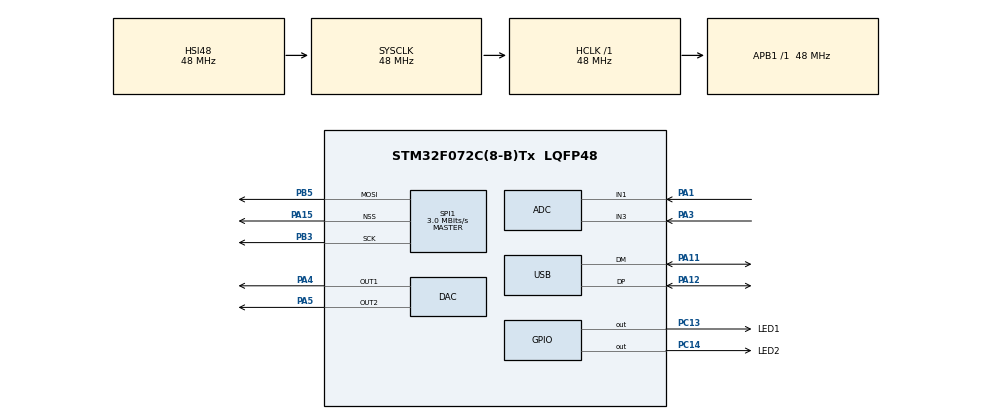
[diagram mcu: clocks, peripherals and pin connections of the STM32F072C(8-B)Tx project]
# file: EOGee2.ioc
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ADC.ClockPrescaler=ADC_CLOCK_SYNC_PCLK_DIV4
ADC.ContinuousConvMode=DISABLE
ADC.DMAContinuousRequests=ENABLE
ADC.DiscontinuousConvMode=DISABLE
ADC.EOCSelection=ADC_EOC_SEQ_CONV
ADC.ExternalTrigConv=ADC_EXTERNALTRIGCONV_T1_TRGO
ADC.SamplingTime=ADC_SAMPLETIME_71CYCLES_5
DAC.DAC_Trigger=DAC_TRIGGER_T2_TRGO
DAC.DAC_Trigger2=DAC_TRIGGER_T2_TRGO
Dma.ADC.2.Direction=DMA_PERIPH_TO_MEMORY
Dma.ADC.2.Instance=DMA1_Channel1
Dma.ADC.2.MemDataAlignment=DMA_MDATAALIGN_HALFWORD
Dma.ADC.2.MemInc=DMA_MINC_ENABLE
Dma.ADC.2.Mode=DMA_CIRCULAR
Dma.ADC.2.PeriphDataAlignment=DMA_PDATAALIGN_HALFWORD
Dma.ADC.2.PeriphInc=DMA_PINC_DISABLE
Dma.ADC.2.Priority=DMA_PRIORITY_LOW
Dma.DAC_CH1.0.Direction=DMA_MEMORY_TO_PERIPH
Dma.DAC_CH1.0.Instance=DMA1_Channel3
Dma.DAC_CH1.0.MemDataAlignment=DMA_MDATAALIGN_HALFWORD
Dma.DAC_CH1.0.MemInc=DMA_MINC_ENABLE
Dma.DAC_CH1.0.Mode=DMA_CIRCULAR
Dma.DAC_CH1.0.PeriphDataAlignment=DMA_PDATAALIGN_HALFWORD
Dma.DAC_CH1.0.PeriphInc=DMA_PINC_DISABLE
Dma.DAC_CH1.0.Priority=DMA_PRIORITY_LOW
Dma.DAC_CH2.1.Direction=DMA_MEMORY_TO_PERIPH
Dma.DAC_CH2.1.Instance=DMA1_Channel4
Dma.DAC_CH2.1.MemDataAlignment=DMA_MDATAALIGN_HALFWORD
Dma.DAC_CH2.1.MemInc=DMA_MINC_DISABLE
Dma.DAC_CH2.1.Mode=DMA_CIRCULAR
Dma.DAC_CH2.1.PeriphDataAlignment=DMA_PDATAALIGN_HALFWORD
Dma.DAC_CH2.1.PeriphInc=DMA_PINC_DISABLE
Dma.DAC_CH2.1.Priority=DMA_PRIORITY_LOW
Dma.Request0=DAC_CH1
Dma.Request1=DAC_CH2
Dma.Request2=ADC
Mcu.Family=STM32F0
Mcu.Name=STM32F072C(8-B)Tx
Mcu.Package=LQFP48
NVIC.DMA1_Channel1_IRQn=true\:0\:0\:false\:false\:true\:false\:true
NVIC.USB_IRQn=true\:0\:0\:false\:false\:true\:false\:true
PA1.Mode=IN1
PA1.Signal=ADC_IN1
PA11.Mode=Device
PA11.Signal=USB_DM
PA12.Mode=Device
PA12.Signal=USB_DP
PA15.Mode=NSS_Signal_Hard_Output
PA15.Signal=SPI1_NSS
PA3.Mode=IN3
PA3.Signal=ADC_IN3
PA4.Signal=COMP_DAC1_group
PA5.Signal=COMP_DAC2_group
PB3.Mode=TX_Only_Simplex_Unidirect_Master
PB3.Signal=SPI1_SCK
PB5.Mode=TX_Only_Simplex_Unidirect_Master
PB5.Signal=SPI1_MOSI
PC13.GPIO_Label=LED1
PC13.Signal=GPIO_Output
PC14-OSC32_IN.GPIO_Label=LED2
PC14-OSC32_IN.Signal=GPIO_Output
ProjectManager.HeapSize=0x200
ProjectManager.StackSize=0x400
ProjectManager.TargetToolchain=STM32CubeIDE
RCC.AHBFreq_Value=48000000
RCC.APB1Freq_Value=48000000
RCC.APB1TimFreq_Value=48000000
RCC.HCLKFreq_Value=48000000
RCC.SYSCLKFreq_VALUE=48000000
RCC.SYSCLKSource=RCC_SYSCLKSOURCE_HSI48
SH.COMP_DAC1_group.0=DAC_OUT1,DAC_OUT1
SH.COMP_DAC2_group.0=DAC_OUT2,DAC_OUT2
SPI1.BaudRatePrescaler=SPI_BAUDRATEPRESCALER_16
SPI1.CalculateBaudRate=3.0 MBits/s
SPI1.DataSize=SPI_DATASIZE_16BIT
SPI1.Direction=SPI_DIRECTION_2LINES
SPI1.FirstBit=SPI_FIRSTBIT_MSB
SPI1.Mode=SPI_MODE_MASTER
SPI1.VirtualNSS=VM_NSSHARD
SPI1.VirtualType=VM_MASTER
TIM1.Channel-Output\ Compare1\ No\ Output=TIM_CHANNEL_1
TIM1.Period=1600
TIM1.Prescaler=0
TIM1.TIM_MasterOutputTrigger=TIM_TRGO_OC1
TIM2.Channel-Output\ Compare1\ No\ Output=TIM_CHANNEL_1
TIM2.Period=1600
TIM2.TIM_MasterOutputTrigger=TIM_TRGO_OC1
USB_DEVICE.APP_TX_DATA_SIZE=1000
USB_DEVICE.CLASS_NAME_FS=CDC
USB_DEVICE.VirtualMode=Cdc
USB_DEVICE.VirtualModeFS=Cdc_FS
VP_RCC_USB.Mode=CRS SYNC Source USB
VP_TIM1_VS_ClockSourceINT.Mode=Internal
VP_TIM1_VS_no_output1.Mode=Output Compare1 No Output
VP_TIM2_VS_ClockSourceINT.Mode=Internal
VP_TIM2_VS_no_output1.Mode=Output Compare1 No Output
VP_USB_DEVICE_VS_USB_DEVICE_CDC_FS.Mode=CDC_FS
board=custom

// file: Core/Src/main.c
/* USER CODE BEGIN Header */
/**
  ******************************************************************************
  * @file           : main.c
  * @brief          : Main program body
  ******************************************************************************
  * @attention
  *
  * <h2><center>&copy; Copyright (c) 2020 STMicroelectronics.
  * All rights reserved.</center></h2>
  *
  * This software component is licensed by ST under BSD 3-Clause license,
  * the "License"; You may not use this file except in compliance with the
  * License. You may obtain a copy of the License at:
  *                        opensource.org/licenses/BSD-3-Clause
  *
  ******************************************************************************
  */
/* USER CODE END Header */

#include "main.h"
#include "usb_device.h"

/* USER CODE BEGIN Includes */
#include "usbd_cdc_if.h"
/* USER CODE END Includes */

/* USER CODE BEGIN PD */
#define ADC_TARGET 2048
#define ADC_TARGET_RANGE 10
#define ADC_CORRECTION_RANGE 1500
/* USER CODE END PD */

ADC_HandleTypeDef hadc;
DMA_HandleTypeDef hdma_adc;

DAC_HandleTypeDef hdac;
DMA_HandleTypeDef hdma_dac_ch1;
DMA_HandleTypeDef hdma_dac_ch2;

SPI_HandleTypeDef hspi1;

TIM_HandleTypeDef htim1;
TIM_HandleTypeDef htim2;

/* USER CODE BEGIN PV */
#define OUTPUT_BUFFER_LEN 100
uint16_t output_buffer[OUTPUT_BUFFER_LEN*2+1]; // Buffer is long enough for ADC data, DAC data and demod
volatile uint8_t output_buffer_pointer;
#define ADC_DMA_BUFFER_LEN 1000
uint16_t adc_dma_buffer[ADC_DMA_BUFFER_LEN];
volatile uint16_t adc_dma_buffer_pointer;
volatile int correcting = 0;
volatile uint16_t dac_code = 0;
uint16_t electrode_sense_waveform_i[100] = {2048, 2176, 2304, 2431, 2557, 2680, 2801, 2919, 3034, 3145, 3251, 3353, 3449, 3540, 3625, 3704, 3776, 3842, 3900, 3951, 3995, 4031, 4059, 4079, 4091, 4095, 4091, 4079, 4059, 4031, 3995, 3951, 3900, 3842, 3776, 3704, 3625, 3540, 3449, 3353, 3251, 3145, 3034, 2919, 2801, 2680, 2557, 2431, 2304, 2176, 2048, 1920, 1792, 1665, 1539, 1416, 1295, 1177, 1062, 951, 845, 743, 647, 556, 471, 392, 320, 254, 196, 145, 101, 65, 37, 17, 5, 1, 5, 17, 37, 65, 101, 145, 196, 254, 320, 392, 471, 556, 647, 743, 845, 951, 1062, 1177, 1295, 1416, 1539, 1665, 1792, 1920};
uint16_t electrode_sense_waveform_q[100] = {4095,4090,4078,4058,4030,3994,3951,3900,3841,3776,3704,3625,3540,3449, 3352,3251,3144,3034,2919,2801,2680,2557,2431,2304,2176,2048,1920,1792, 1665,1539,1416,1295,1177,1062, 952, 845, 744, 647, 556, 471, 392, 320,  255, 196, 145, 102,  66,  38,  18,   6,   1,   6,  18,  38,  66, 102,  145, 196, 255, 320, 392, 471, 556, 647, 744, 845, 952,1062,1177,1295, 1416,1539,1665,1792,1920,2048,2176,2304,2431,2557,2680,2801,2919,3034, 3144,3251,3352,3449,3540,3625,3704,3776,3841,3900,3951,3994,4030,4058, 4078,4090};
/* USER CODE END PV */

void SystemClock_Config(void);
static void MX_GPIO_Init(void);
static void MX_DMA_Init(void);
static void MX_DAC_Init(void);
static void MX_SPI1_Init(void);
static void MX_ADC_Init(void);
static void MX_TIM1_Init(void);
static void MX_TIM2_Init(void);
/* USER CODE BEGIN PFP */
HAL_StatusTypeDef Set_MCP41010_Resistance(uint8_t resistance);
void ADD_POINT_TO_OUTPUT_BUFFER(uint16_t, uint16_t);
/* USER CODE END PFP */

int main(void)
{

  /* MCU Configuration--------------------------------------------------------*/

  /* Reset of all peripherals, Initializes the Flash interface and the Systick. */
  HAL_Init();

  /* Configure the system clock */
  SystemClock_Config();

  /* Initialize all configured peripherals */
  MX_GPIO_Init();
  MX_DMA_Init();
  MX_DAC_Init();
  MX_USB_DEVICE_Init();
  MX_SPI1_Init();
  MX_ADC_Init();
  MX_TIM1_Init();
  MX_TIM2_Init();
  /* USER CODE BEGIN 2 */
  HAL_Delay(3000);
  //CDC_Transmit_FS((uint8_t*)"Hello\n\r", 7);
  /* USER CODE END 2 */

  /* Infinite loop */
  /* USER CODE BEGIN WHILE */
  HAL_Delay(1000);
  Set_MCP41010_Resistance(255);

  // Start feedback DAC
  dac_code = ADC_TARGET;
  HAL_DAC_Start_DMA(&hdac, DAC_CHANNEL_2, (uint32_t *) &dac_code, 1, DAC_ALIGN_12B_R);
  correcting = 1;

  // Start electrode sense dac
  HAL_DAC_Start_DMA(&hdac, DAC_CHANNEL_1, (uint32_t *) electrode_sense_waveform_i, 100, DAC_ALIGN_12B_R);

  // Start EOG ADC conversions
  output_buffer_pointer = 0;
  HAL_ADC_Start_DMA(&hadc, (uint32_t *) adc_dma_buffer, ADC_DMA_BUFFER_LEN);

  // Start timer 2 which triggers electrode sense DAC  and feedback DAC
  HAL_TIM_OC_Start_IT(&htim2,TIM_CHANNEL_1);

  // Start timer 1 which triggers EOG ADC
  HAL_TIM_OC_Start_IT(&htim1,TIM_CHANNEL_1);

  while (1)
  {
    /* USER CODE END WHILE */

    /* USER CODE BEGIN 3 */
	  if(output_buffer_pointer == OUTPUT_BUFFER_LEN)
	  {
		  // Toggle LED
		  HAL_GPIO_TogglePin(LED1_GPIO_Port, LED1_Pin);
		  // Send data buffer over usb
		  CDC_Transmit_FS((void*)output_buffer, 2*2*OUTPUT_BUFFER_LEN+2);
		  // Reset data buffer
		  output_buffer_pointer = 0;
	  }
  }
  /* USER CODE END 3 */
}

void SystemClock_Config(void)
{
  RCC_OscInitTypeDef RCC_OscInitStruct = {0};
  RCC_ClkInitTypeDef RCC_ClkInitStruct = {0};
  RCC_PeriphCLKInitTypeDef PeriphClkInit = {0};
  RCC_CRSInitTypeDef RCC_CRSInitStruct = {0};

  /** Initializes the CPU, AHB and APB busses clocks
  */
  RCC_OscInitStruct.OscillatorType = RCC_OSCILLATORTYPE_HSI48;
  RCC_OscInitStruct.HSI48State = RCC_HSI48_ON;
  RCC_OscInitStruct.PLL.PLLState = RCC_PLL_NONE;
  if (HAL_RCC_OscConfig(&RCC_OscInitStruct) != HAL_OK)
  {
    Error_Handler();
  }
  /** Initializes the CPU, AHB and APB busses clocks
  */
  RCC_ClkInitStruct.ClockType = RCC_CLOCKTYPE_HCLK|RCC_CLOCKTYPE_SYSCLK
                              |RCC_CLOCKTYPE_PCLK1;
  RCC_ClkInitStruct.SYSCLKSource = RCC_SYSCLKSOURCE_HSI48;
  RCC_ClkInitStruct.AHBCLKDivider = RCC_SYSCLK_DIV1;
  RCC_ClkInitStruct.APB1CLKDivider = RCC_HCLK_DIV1;

  if (HAL_RCC_ClockConfig(&RCC_ClkInitStruct, FLASH_LATENCY_1) != HAL_OK)
  {
    Error_Handler();
  }
  PeriphClkInit.PeriphClockSelection = RCC_PERIPHCLK_USB;
  PeriphClkInit.UsbClockSelection = RCC_USBCLKSOURCE_HSI48;

  if (HAL_RCCEx_PeriphCLKConfig(&PeriphClkInit) != HAL_OK)
  {
    Error_Handler();
  }
  /** Enable the SYSCFG APB clock
  */
  __HAL_RCC_CRS_CLK_ENABLE();
  /** Configures CRS
  */
  RCC_CRSInitStruct.Prescaler = RCC_CRS_SYNC_DIV1;
  RCC_CRSInitStruct.Source = RCC_CRS_SYNC_SOURCE_USB;
  RCC_CRSInitStruct.Polarity = RCC_CRS_SYNC_POLARITY_RISING;
  RCC_CRSInitStruct.ReloadValue = __HAL_RCC_CRS_RELOADVALUE_CALCULATE(48000000,1000);
  RCC_CRSInitStruct.ErrorLimitValue = 34;
  RCC_CRSInitStruct.HSI48CalibrationValue = 32;

  HAL_RCCEx_CRSConfig(&RCC_CRSInitStruct);
}

static void MX_ADC_Init(void)
{

  ADC_ChannelConfTypeDef sConfig = {0};

  /** Configure the global features of the ADC (Clock, Resolution, Data Alignment and number of conversion)
  */
  hadc.Instance = ADC1;
  hadc.Init.ClockPrescaler = ADC_CLOCK_SYNC_PCLK_DIV4;
  hadc.Init.Resolution = ADC_RESOLUTION_12B;
  hadc.Init.DataAlign = ADC_DATAALIGN_RIGHT;
  hadc.Init.ScanConvMode = ADC_SCAN_DIRECTION_FORWARD;
  hadc.Init.EOCSelection = ADC_EOC_SEQ_CONV;
  hadc.Init.LowPowerAutoWait = DISABLE;
  hadc.Init.LowPowerAutoPowerOff = DISABLE;
  hadc.Init.ContinuousConvMode = DISABLE;
  hadc.Init.DiscontinuousConvMode = DISABLE;
  hadc.Init.ExternalTrigConv = ADC_EXTERNALTRIGCONV_T1_TRGO;
  hadc.Init.ExternalTrigConvEdge = ADC_EXTERNALTRIGCONVEDGE_RISING;
  hadc.Init.DMAContinuousRequests = ENABLE;
  hadc.Init.Overrun = ADC_OVR_DATA_PRESERVED;
  if (HAL_ADC_Init(&hadc) != HAL_OK)
  {
    Error_Handler();
  }
  /** Configure for the selected ADC regular channel to be converted.
  */
  sConfig.Channel = ADC_CHANNEL_1;
  sConfig.Rank = ADC_RANK_CHANNEL_NUMBER;
  sConfig.SamplingTime = ADC_SAMPLETIME_71CYCLES_5;
  if (HAL_ADC_ConfigChannel(&hadc, &sConfig) != HAL_OK)
  {
    Error_Handler();
  }
  /** Configure for the selected ADC regular channel to be converted.
  */
  sConfig.Channel = ADC_CHANNEL_3;
  if (HAL_ADC_ConfigChannel(&hadc, &sConfig) != HAL_OK)
  {
    Error_Handler();
  }

}

static void MX_DAC_Init(void)
{

  DAC_ChannelConfTypeDef sConfig = {0};

  /** DAC Initialization
  */
  hdac.Instance = DAC;
  if (HAL_DAC_Init(&hdac) != HAL_OK)
  {
    Error_Handler();
  }
  /** DAC channel OUT1 config
  */
  sConfig.DAC_Trigger = DAC_TRIGGER_T2_TRGO;
  sConfig.DAC_OutputBuffer = DAC_OUTPUTBUFFER_ENABLE;
  if (HAL_DAC_ConfigChannel(&hdac, &sConfig, DAC_CHANNEL_1) != HAL_OK)
  {
    Error_Handler();
  }
  /** DAC channel OUT2 config
  */
  if (HAL_DAC_ConfigChannel(&hdac, &sConfig, DAC_CHANNEL_2) != HAL_OK)
  {
    Error_Handler();
  }

}

static void MX_SPI1_Init(void)
{

  /* SPI1 parameter configuration*/
  hspi1.Instance = SPI1;
  hspi1.Init.Mode = SPI_MODE_MASTER;
  hspi1.Init.Direction = SPI_DIRECTION_2LINES;
  hspi1.Init.DataSize = SPI_DATASIZE_16BIT;
  hspi1.Init.CLKPolarity = SPI_POLARITY_LOW;
  hspi1.Init.CLKPhase = SPI_PHASE_1EDGE;
  hspi1.Init.NSS = SPI_NSS_HARD_OUTPUT;
  hspi1.Init.BaudRatePrescaler = SPI_BAUDRATEPRESCALER_16;
  hspi1.Init.FirstBit = SPI_FIRSTBIT_MSB;
  hspi1.Init.TIMode = SPI_TIMODE_DISABLE;
  hspi1.Init.CRCCalculation = SPI_CRCCALCULATION_DISABLE;
  hspi1.Init.CRCPolynomial = 7;
  hspi1.Init.CRCLength = SPI_CRC_LENGTH_DATASIZE;
  hspi1.Init.NSSPMode = SPI_NSS_PULSE_ENABLE;
  if (HAL_SPI_Init(&hspi1) != HAL_OK)
  {
    Error_Handler();
  }

}

static void MX_TIM1_Init(void)
{

  TIM_ClockConfigTypeDef sClockSourceConfig = {0};
  TIM_MasterConfigTypeDef sMasterConfig = {0};
  TIM_OC_InitTypeDef sConfigOC = {0};
  TIM_BreakDeadTimeConfigTypeDef sBreakDeadTimeConfig = {0};

  htim1.Instance = TIM1;
  htim1.Init.Prescaler = 0;
  htim1.Init.CounterMode = TIM_COUNTERMODE_UP;
  htim1.Init.Period = 1600;
  htim1.Init.ClockDivision = TIM_CLOCKDIVISION_DIV1;
  htim1.Init.RepetitionCounter = 0;
  htim1.Init.AutoReloadPreload = TIM_AUTORELOAD_PRELOAD_DISABLE;
  if (HAL_TIM_Base_Init(&htim1) != HAL_OK)
  {
    Error_Handler();
  }
  sClockSourceConfig.ClockSource = TIM_CLOCKSOURCE_INTERNAL;
  if (HAL_TIM_ConfigClockSource(&htim1, &sClockSourceConfig) != HAL_OK)
  {
    Error_Handler();
  }
  if (HAL_TIM_OC_Init(&htim1) != HAL_OK)
  {
    Error_Handler();
  }
  sMasterConfig.MasterOutputTrigger = TIM_TRGO_OC1;
  sMasterConfig.MasterSlaveMode = TIM_MASTERSLAVEMODE_DISABLE;
  if (HAL_TIMEx_MasterConfigSynchronization(&htim1, &sMasterConfig) != HAL_OK)
  {
    Error_Handler();
  }
  sConfigOC.OCMode = TIM_OCMODE_TIMING;
  sConfigOC.Pulse = 0;
  sConfigOC.OCPolarity = TIM_OCPOLARITY_HIGH;
  sConfigOC.OCNPolarity = TIM_OCNPOLARITY_HIGH;
  sConfigOC.OCFastMode = TIM_OCFAST_DISABLE;
  sConfigOC.OCIdleState = TIM_OCIDLESTATE_RESET;
  sConfigOC.OCNIdleState = TIM_OCNIDLESTATE_RESET;
  if (HAL_TIM_OC_ConfigChannel(&htim1, &sConfigOC, TIM_CHANNEL_1) != HAL_OK)
  {
    Error_Handler();
  }
  sBreakDeadTimeConfig.OffStateRunMode = TIM_OSSR_DISABLE;
  sBreakDeadTimeConfig.OffStateIDLEMode = TIM_OSSI_DISABLE;
  sBreakDeadTimeConfig.LockLevel = TIM_LOCKLEVEL_OFF;
  sBreakDeadTimeConfig.DeadTime = 0;
  sBreakDeadTimeConfig.BreakState = TIM_BREAK_DISABLE;
  sBreakDeadTimeConfig.BreakPolarity = TIM_BREAKPOLARITY_HIGH;
  sBreakDeadTimeConfig.AutomaticOutput = TIM_AUTOMATICOUTPUT_DISABLE;
  if (HAL_TIMEx_ConfigBreakDeadTime(&htim1, &sBreakDeadTimeConfig) != HAL_OK)
  {
    Error_Handler();
  }

}

static void MX_TIM2_Init(void)
{

  TIM_ClockConfigTypeDef sClockSourceConfig = {0};
  TIM_MasterConfigTypeDef sMasterConfig = {0};
  TIM_OC_InitTypeDef sConfigOC = {0};

  htim2.Instance = TIM2;
  htim2.Init.Prescaler = 0;
  htim2.Init.CounterMode = TIM_COUNTERMODE_UP;
  htim2.Init.Period = 1600;
  htim2.Init.ClockDivision = TIM_CLOCKDIVISION_DIV1;
  htim2.Init.AutoReloadPreload = TIM_AUTORELOAD_PRELOAD_DISABLE;
  if (HAL_TIM_Base_Init(&htim2) != HAL_OK)
  {
    Error_Handler();
  }
  sClockSourceConfig.ClockSource = TIM_CLOCKSOURCE_INTERNAL;
  if (HAL_TIM_ConfigClockSource(&htim2, &sClockSourceConfig) != HAL_OK)
  {
    Error_Handler();
  }
  if (HAL_TIM_OC_Init(&htim2) != HAL_OK)
  {
    Error_Handler();
  }
  sMasterConfig.MasterOutputTrigger = TIM_TRGO_OC1;
  sMasterConfig.MasterSlaveMode = TIM_MASTERSLAVEMODE_DISABLE;
  if (HAL_TIMEx_MasterConfigSynchronization(&htim2, &sMasterConfig) != HAL_OK)
  {
    Error_Handler();
  }
  sConfigOC.OCMode = TIM_OCMODE_TIMING;
  sConfigOC.Pulse = 0;
  sConfigOC.OCPolarity = TIM_OCPOLARITY_HIGH;
  sConfigOC.OCFastMode = TIM_OCFAST_DISABLE;
  if (HAL_TIM_OC_ConfigChannel(&htim2, &sConfigOC, TIM_CHANNEL_1) != HAL_OK)
  {
    Error_Handler();
  }

}

static void MX_DMA_Init(void)
{

  /* DMA controller clock enable */
  __HAL_RCC_DMA1_CLK_ENABLE();

  /* DMA interrupt init */
  /* DMA1_Channel1_IRQn interrupt configuration */
  HAL_NVIC_SetPriority(DMA1_Channel1_IRQn, 0, 0);
  HAL_NVIC_EnableIRQ(DMA1_Channel1_IRQn);

}

static void MX_GPIO_Init(void)
{
  GPIO_InitTypeDef GPIO_InitStruct = {0};

  /* GPIO Ports Clock Enable */
  __HAL_RCC_GPIOC_CLK_ENABLE();
  __HAL_RCC_GPIOA_CLK_ENABLE();
  __HAL_RCC_GPIOB_CLK_ENABLE();

  /*Configure GPIO pin Output Level */
  HAL_GPIO_WritePin(GPIOC, LED1_Pin|LED2_Pin, GPIO_PIN_RESET);

  /*Configure GPIO pins : LED1_Pin LED2_Pin */
  GPIO_InitStruct.Pin = LED1_Pin|LED2_Pin;
  GPIO_InitStruct.Mode = GPIO_MODE_OUTPUT_PP;
  GPIO_InitStruct.Pull = GPIO_NOPULL;
  GPIO_InitStruct.Speed = GPIO_SPEED_FREQ_LOW;
  HAL_GPIO_Init(GPIOC, &GPIO_InitStruct);

}

/* USER CODE BEGIN 4 */

HAL_StatusTypeDef Set_MCP41010_Resistance(uint8_t resistance)
{
	uint8_t data[2];
	data[1] = 0x11;
	data[0] = resistance;
	return HAL_SPI_Transmit(&hspi1, (void *) &data, 1, HAL_MAX_DELAY);
}

/* USER CODE BEGIN 4 */
void ADD_POINT_TO_OUTPUT_BUFFER(uint16_t output_val, uint16_t dac_val)
{
	// Put data in buffer
	if(output_buffer_pointer < OUTPUT_BUFFER_LEN)
	{
		output_buffer[output_buffer_pointer] = (0x8000 | (uint16_t) output_val);
		output_buffer[output_buffer_pointer+OUTPUT_BUFFER_LEN] = (0x4000 | dac_val);
		output_buffer_pointer++;
	}
	else
	{
		// If no space in buffer, turn on LED as warning
		HAL_GPIO_WritePin(LED2_GPIO_Port, LED2_Pin, GPIO_PIN_SET);
	}
}

/**
  * @brief  Conversion complete callback in non blocking mode
  * @param  hadc ADC handle
  * @retval None
  */
void HAL_ADC_ConvCpltCallback(ADC_HandleTypeDef* hadc)
{
	uint32_t sample;
	uint16_t sample_step = 40;
	uint16_t nchannels = 2;
	while(adc_dma_buffer_pointer < ADC_DMA_BUFFER_LEN)
	{
		sample = adc_dma_buffer[adc_dma_buffer_pointer];
		ADD_POINT_TO_OUTPUT_BUFFER(sample, dac_code);
		adc_dma_buffer_pointer += sample_step * nchannels;
	}
	adc_dma_buffer_pointer -= ADC_DMA_BUFFER_LEN;

	uint64_t i_acculumator = 0;
	uint64_t q_acculumator = 0;
	uint16_t idx = 0;
	for(int i = 0; i < ADC_DMA_BUFFER_LEN/2; i++)
	{
		idx = i%100;
		i_acculumator += electrode_sense_waveform_i[idx] * adc_dma_buffer[i*2 + 1];
		q_acculumator += electrode_sense_waveform_q[idx] * adc_dma_buffer[i*2 + 1];
	}
	uint64_t accumulator = i_acculumator + q_acculumator;
	uint16_t demod = accumulator >> 22;
	output_buffer[2*OUTPUT_BUFFER_LEN] = (0x2000 | (demod & 0xFFF));

	// Adjust DAC to move ADC towards target
	if(correcting == 1)
	{
		if(sample > ADC_TARGET+ADC_TARGET_RANGE)
		{
			if(dac_code > 0)
			{
				dac_code -= 1;
			}
		}
		else if(sample < ADC_TARGET-ADC_TARGET_RANGE)
		{
			if(dac_code < 4095)
			{
				dac_code += 1;
			}
		}
		else
		{
			correcting = 0;
		}
	}
	else
	{
		if(sample > ADC_TARGET + ADC_CORRECTION_RANGE || sample < ADC_TARGET-ADC_CORRECTION_RANGE)
		{
			correcting = 1;
		}
	}
}

/* USER CODE END 4 */

void Error_Handler(void)
{
}

/************************ (C) COPYRIGHT STMicroelectronics *****END OF FILE****/
